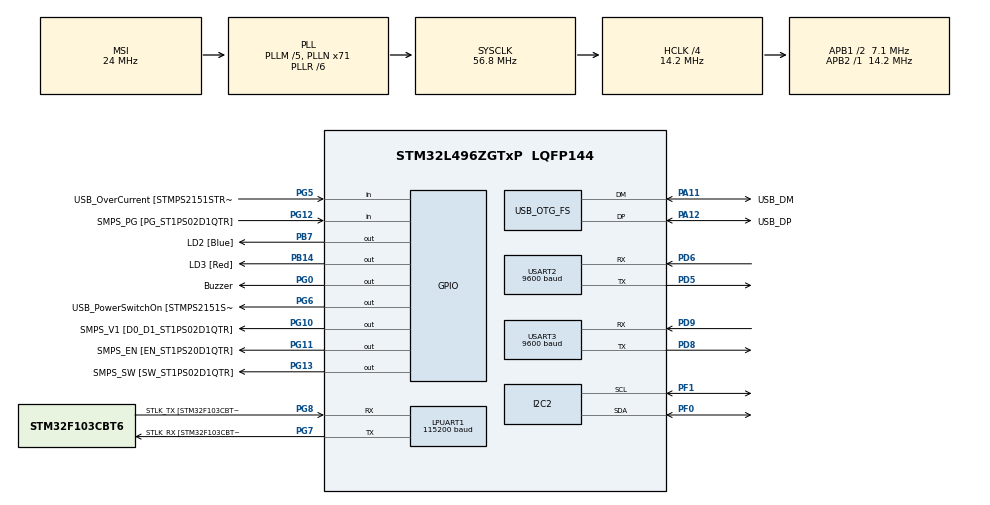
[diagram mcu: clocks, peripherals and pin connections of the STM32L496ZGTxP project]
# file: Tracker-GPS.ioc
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FREERTOS.Tasks01=TaskGPS,24,756,StartTaskGPS,Default,NULL,Dynamic,NULL,NULL;TaskGSM,24,756,StartTaskGSM,Default,NULL,Dynamic,NULL,NULL;TaskFF,8,256,StartTaskFF,Default,NULL,Dynamic,NULL,NULL
FREERTOS.configTOTAL_HEAP_SIZE=9856
FREERTOS.configUSE_NEWLIB_REENTRANT=1
FREERTOS.configUSE_STATS_FORMATTING_FUNCTIONS=0
I2C2.Timing=0x00101A26
LPUART1.BaudRate=115200
LPUART1.WordLength=UART_WORDLENGTH_8B
Mcu.Family=STM32L4
Mcu.Name=STM32L496ZGTxP
Mcu.Package=LQFP144
NVIC.I2C2_ER_IRQn=true\:5\:0\:false\:false\:true\:true\:true\:true\:true
NVIC.I2C2_EV_IRQn=true\:5\:0\:false\:false\:true\:true\:true\:true\:true
NVIC.OTG_FS_IRQn=true\:5\:0\:false\:false\:true\:true\:true\:true\:true
NVIC.PriorityGroup=NVIC_PRIORITYGROUP_4
NVIC.TIM6_DAC_IRQn=true\:15\:0\:false\:false\:true\:false\:false\:true\:true
NVIC.TimeBase=TIM6_DAC_IRQn
NVIC.TimeBaseIP=TIM6
NVIC.USART2_IRQn=true\:5\:0\:false\:false\:true\:true\:true\:true\:true
NVIC.USART3_IRQn=true\:5\:0\:false\:false\:true\:true\:true\:true\:true
PA10.GPIO_Label=USB_ID
PA10.Signal=USB_OTG_FS_ID
PA11.GPIO_Label=USB_DM
PA11.Mode=Host_Only
PA11.Signal=USB_OTG_FS_DM
PA12.GPIO_Label=USB_DP
PA12.Mode=Host_Only
PA12.Signal=USB_OTG_FS_DP
PA13\ (JTMS/SWDIO).GPIO_Label=TMS
PA13\ (JTMS/SWDIO).Mode=Trace_Asynchronous_SW
PA13\ (JTMS/SWDIO).Signal=SYS_JTMS-SWDIO
PA14\ (JTCK/SWCLK).GPIO_Label=TCK
PA14\ (JTCK/SWCLK).Mode=Trace_Asynchronous_SW
PA14\ (JTCK/SWCLK).Signal=SYS_JTCK-SWCLK
PA8.GPIO_Label=USB_SOF [TP1]
PA8.Signal=USB_OTG_FS_SOF
PA9.GPIO_Label=USB_VBUS
PA9.Signal=USB_OTG_FS_VBUS
PB14.GPIO_Label=LD3 [Red]
PB14.Signal=GPIO_Output
PB3\ (JTDO/TRACESWO).GPIO_Label=SWO
PB3\ (JTDO/TRACESWO).Mode=Trace_Asynchronous_SW
PB3\ (JTDO/TRACESWO).Signal=SYS_JTDO-SWO
PB7.GPIO_Label=LD2 [Blue]
PB7.Signal=GPIO_Output
PC14-OSC32_IN\ (PC14).Mode=LSE-External-Oscillator
PC14-OSC32_IN\ (PC14).Signal=RCC_OSC32_IN
PC15-OSC32_OUT\ (PC15).Mode=LSE-External-Oscillator
PC15-OSC32_OUT\ (PC15).Signal=RCC_OSC32_OUT
PD5.Mode=Asynchronous
PD5.Signal=USART2_TX
PD6.Mode=Asynchronous
PD6.Signal=USART2_RX
PD8.Mode=Asynchronous
PD8.Signal=USART3_TX
PD9.Mode=Asynchronous
PD9.Signal=USART3_RX
PF0.Mode=I2C
PF0.Signal=I2C2_SDA
PF1.Mode=I2C
PF1.Signal=I2C2_SCL
PG0.GPIO_Label=Buzzer
PG0.Signal=GPIO_Output
PG10.GPIO_Label=SMPS_V1 [D0_D1_ST1PS02D1QTR]
PG10.Signal=GPIO_Output
PG11.GPIO_Label=SMPS_EN [EN_ST1PS20D1QTR]
PG11.Signal=GPIO_Output
PG12.GPIO_Label=SMPS_PG [PG_ST1PS02D1QTR]
PG12.Signal=GPIO_Input
PG13.GPIO_Label=SMPS_SW [SW_ST1PS02D1QTR]
PG13.Signal=GPIO_Output
PG5.GPIO_Label=USB_OverCurrent [STMPS2151STR_FAULT]
PG5.Signal=GPIO_Input
PG6.GPIO_Label=USB_PowerSwitchOn [STMPS2151STR_EN]
PG6.Signal=GPIO_Output
PG7.GPIO_Label=STLK_RX [STM32F103CBT6_PA3]
PG7.Mode=Asynchronous
PG7.Signal=LPUART1_TX
PG8.GPIO_Label=STLK_TX [STM32F103CBT6_PA2]
PG8.Mode=Asynchronous
PG8.Signal=LPUART1_RX
PH0-OSC_IN\ (PH0).GPIO_Label=MCO
PH0-OSC_IN\ (PH0).Signal=RCC_OSC_IN
PH1-OSC_OUT\ (PH1).Signal=RCC_OSC_OUT
ProjectManager.HeapSize=0x600
ProjectManager.StackSize=0x600
ProjectManager.TargetToolchain=STM32CubeIDE
RCC.48MHZClocksFreq_Value=24000000
RCC.ADCFreq_Value=48000000
RCC.AHBCLKDivider=RCC_SYSCLK_DIV4
RCC.AHBFreq_Value=14200000
RCC.APB1CLKDivider=RCC_HCLK_DIV2
RCC.APB1Freq_Value=7100000
RCC.APB1TimFreq_Value=14200000
RCC.APB2Freq_Value=14200000
RCC.APB2TimFreq_Value=14200000
RCC.CortexFreq_Value=14200000
RCC.HCLKFreq_Value=14200000
RCC.HSE_VALUE=8000000
RCC.HSI48_VALUE=48000000
RCC.HSI_VALUE=16000000
RCC.MSIClockRange=RCC_MSIRANGE_9
RCC.MSI_VALUE=24000000
RCC.PLLM=5
RCC.PLLMUL=RCC_PLL_MUL9
RCC.PLLN=71
RCC.PLLR=RCC_PLLR_DIV6
RCC.PLLSAI1N=20
RCC.PRESCALERUSB=RCC_USBCLKSOURCE_PLL_DIV1_5
RCC.SYSCLKFreq_VALUE=56800000
RCC.SYSCLKSource=RCC_SYSCLKSOURCE_PLLCLK
RCC.SYSCLKSourceVirtual=RCC_SYSCLKSOURCE_PLLCLK
RCC.USBFreq_Value=48000000
RCC.VCOOutputFreq_Value=340800000
USART2.BaudRate=9600
USART2.VirtualMode-Asynchronous=VM_ASYNC
USART3.BaudRate=9600
USART3.VirtualMode-Asynchronous=VM_ASYNC
USB_HOST.BSP.number=1
USB_HOST.USBH_HandleTypeDef=hUsbHostFS
USB_HOST.VirtualModeFS=Audio
USB_HOST0.BSP.STBoard=false
USB_HOST0.BSP.api=UnknownBspDriver
USB_HOST0.BSP.instance=PG6
USB_HOST0.BSP.ip=GPIO
USB_HOST0.BSP.mode=Output
USB_HOST0.BSP.name=Drive_VBUS_FS
USB_HOST0.BSP.solution=PG6
USB_OTG_FS.VirtualMode=Host_Only
USB_OTG_FS.phy_itface=HCD_PHY_EMBEDDED
VP_FREERTOS_VS_CMSIS_V2.Mode=CMSIS_V2
VP_SYS_VS_tim6.Mode=TIM6
VP_USB_HOST_VS_USB_HOST_AUDIO_FS.Mode=AUDIO_FS
board=NUCLEO-L496ZG-P

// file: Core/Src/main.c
/* USER CODE BEGIN Header */
/**
  ******************************************************************************
  * @file           : main.c
  * @brief          : Main program body
  ******************************************************************************
  * @attention
  *
  * Copyright (c) 2024 STMicroelectronics.
  * All rights reserved.
  *
  * This software is licensed under terms that can be found in the LICENSE file
  * in the root directory of this software component.
  * If no LICENSE file comes with this software, it is provided AS-IS.
  *
  ******************************************************************************
  */
/* USER CODE END Header */
#include "main.h"
#include "cmsis_os.h"
#include "i2c.h"
#include "usart.h"
#include "usb_host.h"
#include "gpio.h"

/* USER CODE BEGIN Includes */
#include "string.h"
#include "stdio.h"
/* USER CODE END Includes */

void SystemClock_Config(void);
void MX_FREERTOS_Init(void);

/* USER CODE BEGIN 0 */
/* ---------------------------------------------------------------------------*/
//Funkcje odpowiedzialne za poprawne wyświetlanie printf w terminalu
int fputc(int ch, FILE *f)
{
	HAL_UART_Transmit(&hlpuart1, (uint8_t *)&ch, 1, 0xFFFF);
	return ch;
}

int _write(int file, char *ptr, int len)
{
	HAL_UART_Transmit(&hlpuart1, (uint8_t *)ptr, len, 0xFFFF);
	return len;
}
/* ---------------------------------------------------------------------------*/

/* USER CODE END 0 */

int main(void)
{

  /* MCU Configuration--------------------------------------------------------*/

  /* Reset of all peripherals, Initializes the Flash interface and the Systick. */
  HAL_Init();

  /* Configure the system clock */
  SystemClock_Config();

  /* Initialize all configured peripherals */
  MX_GPIO_Init();
  MX_LPUART1_UART_Init();
  MX_I2C2_Init();
  MX_USART2_UART_Init();
  MX_USART3_UART_Init();

  /* Init scheduler */
  osKernelInitialize();

  /* Call init function for freertos objects (in freertos.c) */
  MX_FREERTOS_Init();

  /* Start scheduler */
  osKernelStart();

  /* We should never get here as control is now taken by the scheduler */
  /* Infinite loop */
  while (1)
  {

  }
}

void SystemClock_Config(void)
{
  RCC_OscInitTypeDef RCC_OscInitStruct = {0};
  RCC_ClkInitTypeDef RCC_ClkInitStruct = {0};

  /** Configure the main internal regulator output voltage
  */
  if (HAL_PWREx_ControlVoltageScaling(PWR_REGULATOR_VOLTAGE_SCALE1) != HAL_OK)
  {
    Error_Handler();
  }

  /** Configure LSE Drive Capability
  */
  HAL_PWR_EnableBkUpAccess();
  __HAL_RCC_LSEDRIVE_CONFIG(RCC_LSEDRIVE_LOW);

  /** Initializes the RCC Oscillators according to the specified parameters
  * in the RCC_OscInitTypeDef structure.
  */
  RCC_OscInitStruct.OscillatorType = RCC_OSCILLATORTYPE_LSE|RCC_OSCILLATORTYPE_MSI;
  RCC_OscInitStruct.LSEState = RCC_LSE_ON;
  RCC_OscInitStruct.MSIState = RCC_MSI_ON;
  RCC_OscInitStruct.MSICalibrationValue = 0;
  RCC_OscInitStruct.MSIClockRange = RCC_MSIRANGE_9;
  RCC_OscInitStruct.PLL.PLLState = RCC_PLL_ON;
  RCC_OscInitStruct.PLL.PLLSource = RCC_PLLSOURCE_MSI;
  RCC_OscInitStruct.PLL.PLLM = 5;
  RCC_OscInitStruct.PLL.PLLN = 71;
  RCC_OscInitStruct.PLL.PLLP = RCC_PLLP_DIV2;
  RCC_OscInitStruct.PLL.PLLQ = RCC_PLLQ_DIV2;
  RCC_OscInitStruct.PLL.PLLR = RCC_PLLR_DIV6;
  if (HAL_RCC_OscConfig(&RCC_OscInitStruct) != HAL_OK)
  {
    Error_Handler();
  }

  /** Initializes the CPU, AHB and APB buses clocks
  */
  RCC_ClkInitStruct.ClockType = RCC_CLOCKTYPE_HCLK|RCC_CLOCKTYPE_SYSCLK
                              |RCC_CLOCKTYPE_PCLK1|RCC_CLOCKTYPE_PCLK2;
  RCC_ClkInitStruct.SYSCLKSource = RCC_SYSCLKSOURCE_PLLCLK;
  RCC_ClkInitStruct.AHBCLKDivider = RCC_SYSCLK_DIV4;
  RCC_ClkInitStruct.APB1CLKDivider = RCC_HCLK_DIV2;
  RCC_ClkInitStruct.APB2CLKDivider = RCC_HCLK_DIV1;

  if (HAL_RCC_ClockConfig(&RCC_ClkInitStruct, FLASH_LATENCY_0) != HAL_OK)
  {
    Error_Handler();
  }

  /** Enable MSI Auto calibration
  */
  HAL_RCCEx_EnableMSIPLLMode();
}

void HAL_TIM_PeriodElapsedCallback(TIM_HandleTypeDef *htim)
{
  if (htim->Instance == TIM6) {
    HAL_IncTick();
  }
}

void Error_Handler(void)
{
  __disable_irq();
  while (1)
  {
  }
}

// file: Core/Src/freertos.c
/* USER CODE BEGIN Header */
/**
  ******************************************************************************
  * File Name          : freertos.c
  * Description        : Code for freertos applications
  ******************************************************************************
  * @attention
  *
  * Copyright (c) 2024 STMicroelectronics.
  * All rights reserved.
  *
  * This software is licensed under terms that can be found in the LICENSE file
  * in the root directory of this software component.
  * If no LICENSE file comes with this software, it is provided AS-IS.
  *
  ******************************************************************************
  */
/* USER CODE END Header */

#include "FreeRTOS.h"
#include "task.h"
#include "main.h"
#include "cmsis_os.h"

/* USER CODE BEGIN Includes */
#include "stdio.h"
#include "string.h"
#include "gpio.h"
#include "i2c.h"
//ACC
#include "lis2dw12_reg.h"
//GSM
#include "gsm.h"
//GPS
#include "uartRingBuffer.h"
#include "NMEA.h"
/* USER CODE END Includes */

/* USER CODE BEGIN Variables */
//GPS
char GGA[100];
char RMC[100];
GPSSTRUCT gpsData;
int flagGGA = 0, flagRMC = 0;
int VCCTimeout = 5000;
/* USER CODE END Variables */
/* Definitions for TaskGPS */
osThreadId_t TaskGPSHandle;
const osThreadAttr_t TaskGPS_attributes = {
  .name = "TaskGPS",
  .stack_size = 756 * 4,
  .priority = (osPriority_t) osPriorityNormal,
};
/* Definitions for TaskGSM */
osThreadId_t TaskGSMHandle;
const osThreadAttr_t TaskGSM_attributes = {
  .name = "TaskGSM",
  .stack_size = 756 * 4,
  .priority = (osPriority_t) osPriorityNormal,
};
/* Definitions for TaskFF */
osThreadId_t TaskFFHandle;
const osThreadAttr_t TaskFF_attributes = {
  .name = "TaskFF",
  .stack_size = 256 * 4,
  .priority = (osPriority_t) osPriorityLow,
};

/* USER CODE BEGIN FunctionPrototypes */
void lis2dw12_free_fall();
/* USER CODE END FunctionPrototypes */

void StartTaskGPS(void *argument);
void StartTaskGSM(void *argument);
void StartTaskFF(void *argument);

extern void MX_USB_HOST_Init(void);
void MX_FREERTOS_Init(void); /* (MISRA C 2004 rule 8.1) */

void MX_FREERTOS_Init(void) {
  /* USER CODE BEGIN Init */
  Ringbuf_init();
  osDelay(500);
  /* USER CODE END Init */

  /* Create the thread(s) */
  /* creation of TaskGPS */
  TaskGPSHandle = osThreadNew(StartTaskGPS, NULL, &TaskGPS_attributes);

  /* creation of TaskGSM */
  TaskGSMHandle = osThreadNew(StartTaskGSM, NULL, &TaskGSM_attributes);

  /* creation of TaskFF */
  TaskFFHandle = osThreadNew(StartTaskFF, NULL, &TaskFF_attributes);

}

void StartTaskGPS(void *argument)
{
  /* init code for USB_HOST */
  MX_USB_HOST_Init();
  /* USER CODE BEGIN StartTaskGPS */
  /* Infinite loop */
  for(;;)
  {
	    if (Wait_for("GGA") == 1)
	    {
	    	VCCTimeout = 5000;
	    	Copy_upto("*", GGA);
	    	if(decodeGGA(GGA, &gpsData.ggastruct)== 0) flagGGA = 2;
	    	else flagGGA = 1;
	    }

		if (Wait_for("RMC") == 1)
		{
			VCCTimeout = 5000;
			Copy_upto("*", RMC);
			if(decodeRMC(RMC, &gpsData.rmcstruct)== 0) flagRMC = 2;
			else flagRMC = 1;
		}

		if ((flagGGA == 2) | (flagRMC == 2))
		{
			printf("Godzina: %02d:%02d:%02d, Data: %02d.%02d.%02d \r\n", gpsData.ggastruct.tim.hour, gpsData.ggastruct.tim.min, gpsData.ggastruct.tim.sec, gpsData.rmcstruct.date.Day, gpsData.rmcstruct.date.Mon, gpsData.rmcstruct.date.Yr);
			printf("Lokalizacja: %.2f%c, %.2f%c  \r\n", gpsData.ggastruct.lcation.latitude, gpsData.ggastruct.lcation.NS,gpsData.ggastruct.lcation.longitude, gpsData.ggastruct.lcation.EW);
		}
		else if ((flagGGA == 1) | (flagRMC == 1))
		{
			printf("Brak FIXa, prosze czekac.\r\n");
		}

	    if (VCCTimeout <= 0)
		{
			VCCTimeout = 5000;
			flagGGA =flagRMC =0;
			printf("Problem z zasilaniem, sprawdz polaczenie.\r\n");
		}
    osDelay(5000);
  }
  /* USER CODE END StartTaskGPS */
}

void StartTaskGSM(void *argument)
{
  /* USER CODE BEGIN StartTaskGSM */

  /* Infinite loop */
	gsm_init();
	gsm_waitForRegister(30);
  for(;;)
  {
	gsm_loop();
	osDelay(1000);
  }
  /* USER CODE END StartTaskGSM */
}

void StartTaskFF(void *argument)
{
  /* USER CODE BEGIN StartTaskFF */
  /* Infinite loop */
  for(;;)
  {
	lis2dw12_free_fall();
	osDelay(500);
  }
  /* USER CODE END StartTaskFF */
}
